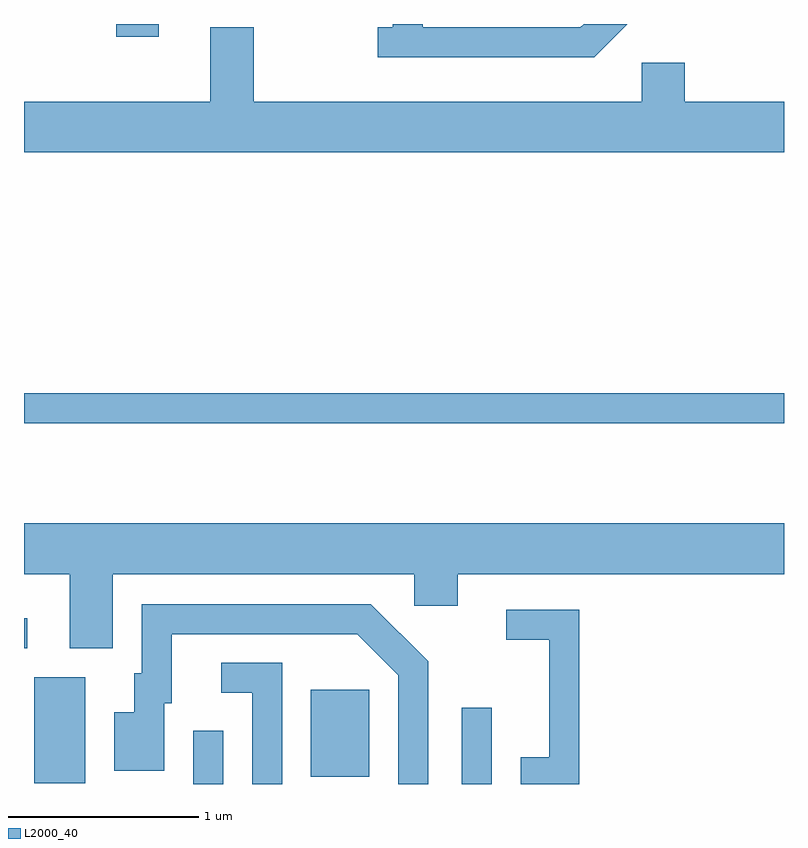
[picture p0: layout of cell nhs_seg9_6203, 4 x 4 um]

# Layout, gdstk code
import gdstk
lib = gdstk.Library(unit=1e-6, precision=1e-09)
def R(c, l, rs):  # rectangles x0, y0, x1, y1
    for r in rs: c.add(gdstk.rectangle(r[:2], r[2:], *l))
def P(c, l, *ps):  # polygons
    for p in ps: c.add(gdstk.Polygon(p, *l))
L2000_40 = (2000, 40)

nhs_seg9_6203 = lib.new_cell('nhs_seg9_6203')
R(nhs_seg9_6203, L2000_40, [(368.501,2048.432,368.659,2048.713), (369.916,2048.432,370.074,2048.833), (367.666,2048.436,367.934,2048.994), (369.121,2048.471,369.429,2048.929), (367.611,2049.146,367.628,2049.304), (367.611,2050.331,371.611,2050.489), (368.096,2052.366,368.319,2052.432)])
P(nhs_seg9_6203, L2000_40, [(370.787,2052.432),(370.557,2052.432),(370.539,2052.414),(369.709,2052.414),(369.709,2052.432),(369.551,2052.432),(369.551,2052.414),(369.473,2052.414),(369.473,2052.256),(370.612,2052.256)],
  [(371.611,2052.024),(371.089,2052.024),(371.089,2052.229),(370.861,2052.229),(370.861,2052.024),(368.819,2052.024),(368.819,2052.414),(368.591,2052.414),(368.591,2052.024),(367.611,2052.024),(367.611,2051.756),(371.611,2051.756)],
  [(368.079,2049.536),(369.666,2049.536),(369.666,2049.371),(369.894,2049.371),(369.894,2049.536),(371.611,2049.536),(371.611,2049.804),(367.611,2049.804),(367.611,2049.536),(367.851,2049.536),(367.851,2049.146),(368.079,2049.146)],
  [(369.739,2049.077),(369.437,2049.379),(368.231,2049.379),(368.231,2049.014),(368.191,2049.014),(368.191,2048.809),(368.086,2048.809),(368.086,2048.501),(368.349,2048.501),(368.349,2048.856),(368.389,2048.856),(368.389,2049.221),(369.364,2049.221),(369.581,2049.004),(369.581,2048.432),(369.739,2048.432)],
  [(370.534,2049.349),(370.148,2049.349),(370.148,2049.191),(370.376,2049.191),(370.376,2048.574),(370.226,2048.574),(370.226,2048.432),(370.534,2048.432)],
  [(368.969,2049.069),(368.648,2049.069),(368.648,2048.911),(368.811,2048.911),(368.811,2048.432),(368.969,2048.432)])

lib.write_gds('nhs_seg9_6203.gds')
